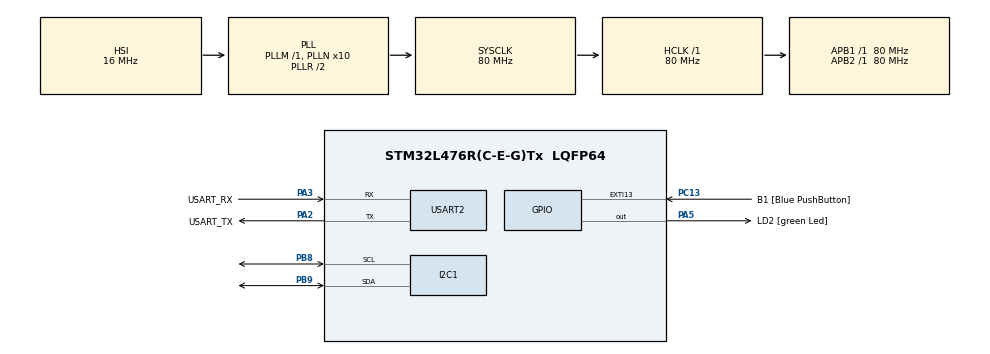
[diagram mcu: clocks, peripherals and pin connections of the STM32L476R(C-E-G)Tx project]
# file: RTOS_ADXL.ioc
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FREERTOS.Tasks01=defaultTask,0,128,StartDefaultTask,Default,NULL,Dynamic,NULL,NULL;LedTask,-1,256,StartLedTask,Default,NULL,Dynamic,NULL,NULL;DebugTask,0,256,StartDebugTask,Default,NULL,Dynamic,NULL,NULL;SensorTask,1,256,StartSensorTask,Default,NULL,Dynamic,NULL,NULL
FREERTOS.configTOTAL_HEAP_SIZE=16384
FREERTOS.configUSE_NEWLIB_REENTRANT=1
I2C1.Timing=0x10D19CE4
Mcu.Family=STM32L4
Mcu.Name=STM32L476R(C-E-G)Tx
Mcu.Package=LQFP64
NVIC.PriorityGroup=NVIC_PRIORITYGROUP_4
NVIC.TIM6_DAC_IRQn=true\:15\:0\:false\:false\:true\:false\:false\:true\:true
NVIC.TimeBase=TIM6_DAC_IRQn
NVIC.TimeBaseIP=TIM6
PA13\ (JTMS-SWDIO).GPIO_Label=TMS
PA13\ (JTMS-SWDIO).Mode=Serial_Wire
PA13\ (JTMS-SWDIO).Signal=SYS_JTMS-SWDIO
PA14\ (JTCK-SWCLK).GPIO_Label=TCK
PA14\ (JTCK-SWCLK).Mode=Serial_Wire
PA14\ (JTCK-SWCLK).Signal=SYS_JTCK-SWCLK
PA2.GPIO_Label=USART_TX
PA2.GPIO_Mode=GPIO_MODE_AF_PP
PA2.GPIO_PuPd=GPIO_NOPULL
PA2.GPIO_Speed=GPIO_SPEED_FREQ_VERY_HIGH
PA2.Mode=Asynchronous
PA2.Signal=USART2_TX
PA3.GPIO_Label=USART_RX
PA3.GPIO_Mode=GPIO_MODE_AF_PP
PA3.GPIO_PuPd=GPIO_NOPULL
PA3.GPIO_Speed=GPIO_SPEED_FREQ_VERY_HIGH
PA3.Mode=Asynchronous
PA3.Signal=USART2_RX
PA5.GPIO_Label=LD2 [green Led]
PA5.GPIO_ModeDefaultOutputPP=GPIO_MODE_OUTPUT_PP
PA5.GPIO_PuPd=GPIO_NOPULL
PA5.GPIO_Speed=GPIO_SPEED_FREQ_LOW
PA5.Signal=GPIO_Output
PB3\ (JTDO-TRACESWO).GPIO_Label=SWO
PB3\ (JTDO-TRACESWO).Signal=SYS_JTDO-SWO
PB8.Mode=I2C
PB8.Signal=I2C1_SCL
PB9.Mode=I2C
PB9.Signal=I2C1_SDA
PC13.GPIO_Label=B1 [Blue PushButton]
PC13.GPIO_ModeDefaultEXTI=GPIO_MODE_IT_FALLING
PC13.GPIO_PuPd=GPIO_NOPULL
PC13.Signal=GPXTI13
PC14-OSC32_IN\ (PC14).Mode=LSE-External-Oscillator
PC14-OSC32_IN\ (PC14).Signal=RCC_OSC32_IN
PC15-OSC32_OUT\ (PC15).Mode=LSE-External-Oscillator
PC15-OSC32_OUT\ (PC15).Signal=RCC_OSC32_OUT
PH0-OSC_IN\ (PH0).Signal=RCC_OSC_IN
PH1-OSC_OUT\ (PH1).Signal=RCC_OSC_OUT
ProjectManager.HeapSize=0x200
ProjectManager.StackSize=0x400
ProjectManager.TargetToolchain=STM32CubeIDE
RCC.ADCFreq_Value=64000000
RCC.AHBFreq_Value=80000000
RCC.APB1Freq_Value=80000000
RCC.APB1TimFreq_Value=80000000
RCC.APB2Freq_Value=80000000
RCC.APB2TimFreq_Value=80000000
RCC.CortexFreq_Value=80000000
RCC.HCLKFreq_Value=80000000
RCC.HSE_VALUE=8000000
RCC.HSI_VALUE=16000000
RCC.MSI_VALUE=4000000
RCC.PLLN=10
RCC.PLLSourceVirtual=RCC_PLLSOURCE_HSI
RCC.PREFETCH_ENABLE=1
RCC.SYSCLKFreq_VALUE=80000000
RCC.SYSCLKSource=RCC_SYSCLKSOURCE_PLLCLK
RCC.USBFreq_Value=64000000
RCC.VCOOutputFreq_Value=160000000
USART2.VirtualMode-Asynchronous=VM_ASYNC
VP_FREERTOS_VS_CMSIS_V1.Mode=CMSIS_V1
VP_SYS_VS_tim6.Mode=TIM6
board=NUCLEO-L476RG

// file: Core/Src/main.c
/* USER CODE BEGIN Header */
/**
  ******************************************************************************
  * @file           : main.c
  * @brief          : Main program body
  ******************************************************************************
  * @attention
  *
  * Copyright (c) 2026 STMicroelectronics.
  * All rights reserved.
  *
  * This software is licensed under terms that can be found in the LICENSE file
  * in the root directory of this software component.
  * If no LICENSE file comes with this software, it is provided AS-IS.
  *
  ******************************************************************************
  */
/* USER CODE END Header */
#include "main.h"
#include "cmsis_os.h"

/* USER CODE BEGIN Includes */
#include<string.h>
#include<stdio.h>
#include <stdlib.h>
/* USER CODE END Includes */

/* USER CODE BEGIN PD */
#define ADXL345_ADDR      (0x53 << 1)
#define ADXL345_DEVID_REG 0x00
#define ADXL345_BW_RATE      0x2C
#define ADXL345_POWER_CTL    0x2D
#define ADXL345_DATA_FORMAT  0x31
#define ADXL345_DATAX0       0x32
/* USER CODE END PD */

I2C_HandleTypeDef hi2c1;

UART_HandleTypeDef huart2;

osThreadId defaultTaskHandle;
osThreadId LedTaskHandle;
osThreadId DebugTaskHandle;
osThreadId SensorTaskHandle;
/* USER CODE BEGIN PV */
volatile uint8_t adxl345_ready = 0;
volatile uint8_t adxl345_devid = 0;
volatile uint8_t adxl345_id_ok = 0;
volatile int16_t adxl_x = 0;
volatile int16_t adxl_y = 0;
volatile int16_t adxl_z = 0;
volatile uint8_t adxl345_config_ok = 0;
volatile uint8_t deploy_flag = 0;
volatile int32_t shock_metric = 0;
/* USER CODE END PV */

void SystemClock_Config(void);
static void MX_GPIO_Init(void);
static void MX_USART2_UART_Init(void);
static void MX_I2C1_Init(void);
void StartDefaultTask(void const * argument);
void StartLedTask(void const * argument);
void StartDebugTask(void const * argument);
void StartSensorTask(void const * argument);

int main(void)
{

  /* MCU Configuration--------------------------------------------------------*/

  /* Reset of all peripherals, Initializes the Flash interface and the Systick. */
  HAL_Init();

  /* Configure the system clock */
  SystemClock_Config();

  /* Initialize all configured peripherals */
  MX_GPIO_Init();
  MX_USART2_UART_Init();
  MX_I2C1_Init();

  /* Create the thread(s) */
  /* definition and creation of defaultTask */
  osThreadDef(defaultTask, StartDefaultTask, osPriorityNormal, 0, 128);
  defaultTaskHandle = osThreadCreate(osThread(defaultTask), NULL);

  /* definition and creation of LedTask */
  osThreadDef(LedTask, StartLedTask, osPriorityBelowNormal, 0, 256);
  LedTaskHandle = osThreadCreate(osThread(LedTask), NULL);

  /* definition and creation of DebugTask */
  osThreadDef(DebugTask, StartDebugTask, osPriorityNormal, 0, 256);
  DebugTaskHandle = osThreadCreate(osThread(DebugTask), NULL);

  /* definition and creation of SensorTask */
  osThreadDef(SensorTask, StartSensorTask, osPriorityAboveNormal, 0, 256);
  SensorTaskHandle = osThreadCreate(osThread(SensorTask), NULL);

  /* Start scheduler */
  osKernelStart();

  /* We should never get here as control is now taken by the scheduler */

  /* Infinite loop */
  while (1)
  {

  }
}

void SystemClock_Config(void)
{
  RCC_OscInitTypeDef RCC_OscInitStruct = {0};
  RCC_ClkInitTypeDef RCC_ClkInitStruct = {0};

  /** Configure the main internal regulator output voltage
  */
  if (HAL_PWREx_ControlVoltageScaling(PWR_REGULATOR_VOLTAGE_SCALE1) != HAL_OK)
  {
    Error_Handler();
  }

  /** Initializes the RCC Oscillators according to the specified parameters
  * in the RCC_OscInitTypeDef structure.
  */
  RCC_OscInitStruct.OscillatorType = RCC_OSCILLATORTYPE_HSI;
  RCC_OscInitStruct.HSIState = RCC_HSI_ON;
  RCC_OscInitStruct.HSICalibrationValue = RCC_HSICALIBRATION_DEFAULT;
  RCC_OscInitStruct.PLL.PLLState = RCC_PLL_ON;
  RCC_OscInitStruct.PLL.PLLSource = RCC_PLLSOURCE_HSI;
  RCC_OscInitStruct.PLL.PLLM = 1;
  RCC_OscInitStruct.PLL.PLLN = 10;
  RCC_OscInitStruct.PLL.PLLP = RCC_PLLP_DIV7;
  RCC_OscInitStruct.PLL.PLLQ = RCC_PLLQ_DIV2;
  RCC_OscInitStruct.PLL.PLLR = RCC_PLLR_DIV2;
  if (HAL_RCC_OscConfig(&RCC_OscInitStruct) != HAL_OK)
  {
    Error_Handler();
  }

  /** Initializes the CPU, AHB and APB buses clocks
  */
  RCC_ClkInitStruct.ClockType = RCC_CLOCKTYPE_HCLK|RCC_CLOCKTYPE_SYSCLK
                              |RCC_CLOCKTYPE_PCLK1|RCC_CLOCKTYPE_PCLK2;
  RCC_ClkInitStruct.SYSCLKSource = RCC_SYSCLKSOURCE_PLLCLK;
  RCC_ClkInitStruct.AHBCLKDivider = RCC_SYSCLK_DIV1;
  RCC_ClkInitStruct.APB1CLKDivider = RCC_HCLK_DIV1;
  RCC_ClkInitStruct.APB2CLKDivider = RCC_HCLK_DIV1;

  if (HAL_RCC_ClockConfig(&RCC_ClkInitStruct, FLASH_LATENCY_4) != HAL_OK)
  {
    Error_Handler();
  }
}

static void MX_I2C1_Init(void)
{

  hi2c1.Instance = I2C1;
  hi2c1.Init.Timing = 0x10D19CE4;
  hi2c1.Init.OwnAddress1 = 0;
  hi2c1.Init.AddressingMode = I2C_ADDRESSINGMODE_7BIT;
  hi2c1.Init.DualAddressMode = I2C_DUALADDRESS_DISABLE;
  hi2c1.Init.OwnAddress2 = 0;
  hi2c1.Init.OwnAddress2Masks = I2C_OA2_NOMASK;
  hi2c1.Init.GeneralCallMode = I2C_GENERALCALL_DISABLE;
  hi2c1.Init.NoStretchMode = I2C_NOSTRETCH_DISABLE;
  if (HAL_I2C_Init(&hi2c1) != HAL_OK)
  {
    Error_Handler();
  }

  /** Configure Analogue filter
  */
  if (HAL_I2CEx_ConfigAnalogFilter(&hi2c1, I2C_ANALOGFILTER_ENABLE) != HAL_OK)
  {
    Error_Handler();
  }

  /** Configure Digital filter
  */
  if (HAL_I2CEx_ConfigDigitalFilter(&hi2c1, 0) != HAL_OK)
  {
    Error_Handler();
  }

}

static void MX_USART2_UART_Init(void)
{

  huart2.Instance = USART2;
  huart2.Init.BaudRate = 115200;
  huart2.Init.WordLength = UART_WORDLENGTH_8B;
  huart2.Init.StopBits = UART_STOPBITS_1;
  huart2.Init.Parity = UART_PARITY_NONE;
  huart2.Init.Mode = UART_MODE_TX_RX;
  huart2.Init.HwFlowCtl = UART_HWCONTROL_NONE;
  huart2.Init.OverSampling = UART_OVERSAMPLING_16;
  huart2.Init.OneBitSampling = UART_ONE_BIT_SAMPLE_DISABLE;
  huart2.AdvancedInit.AdvFeatureInit = UART_ADVFEATURE_NO_INIT;
  if (HAL_UART_Init(&huart2) != HAL_OK)
  {
    Error_Handler();
  }

}

static void MX_GPIO_Init(void)
{
  GPIO_InitTypeDef GPIO_InitStruct = {0};

  /* GPIO Ports Clock Enable */
  __HAL_RCC_GPIOC_CLK_ENABLE();
  __HAL_RCC_GPIOH_CLK_ENABLE();
  __HAL_RCC_GPIOA_CLK_ENABLE();
  __HAL_RCC_GPIOB_CLK_ENABLE();

  /*Configure GPIO pin Output Level */
  HAL_GPIO_WritePin(LD2_GPIO_Port, LD2_Pin, GPIO_PIN_RESET);

  /*Configure GPIO pin : B1_Pin */
  GPIO_InitStruct.Pin = B1_Pin;
  GPIO_InitStruct.Mode = GPIO_MODE_IT_FALLING;
  GPIO_InitStruct.Pull = GPIO_NOPULL;
  HAL_GPIO_Init(B1_GPIO_Port, &GPIO_InitStruct);

  /*Configure GPIO pin : LD2_Pin */
  GPIO_InitStruct.Pin = LD2_Pin;
  GPIO_InitStruct.Mode = GPIO_MODE_OUTPUT_PP;
  GPIO_InitStruct.Pull = GPIO_NOPULL;
  GPIO_InitStruct.Speed = GPIO_SPEED_FREQ_LOW;
  HAL_GPIO_Init(LD2_GPIO_Port, &GPIO_InitStruct);

}

void StartDefaultTask(void const * argument)
{
  for(;;)
  {
    osDelay(1);
  }
}

void StartLedTask(void const * argument)
{
  /* USER CODE BEGIN StartLedTask */
  /* Infinite loop */
	for(;;)
	  {
	    if (deploy_flag)
	    {
	      HAL_GPIO_WritePin(LD2_GPIO_Port, LD2_Pin, GPIO_PIN_SET);
	      osDelay(100);
	    }
	    else
	    {
	      HAL_GPIO_TogglePin(LD2_GPIO_Port, LD2_Pin);
	      osDelay(500);
	    }
	  }
  /* USER CODE END StartLedTask */
}

void StartDebugTask(void const * argument)
{
  /* USER CODE BEGIN StartDebugTask */
  /* Infinite loop */
	char msg[140];

	  for(;;)
	  {
	    if (!adxl345_ready)
	    {
	      sprintf(msg, "ADXL345 not detected\r\n");
	    }
	    else if (!adxl345_id_ok)
	    {
	      sprintf(msg, "ADXL345 detected, unexpected DEVID = 0x%02X\r\n", adxl345_devid);
	    }
	    else if (!adxl345_config_ok)
	    {
	      sprintf(msg, "ADXL345 detected, DEVID = 0x%02X, config failed\r\n", adxl345_devid);
	    }
	    else
	    {
	      sprintf(msg, "X=%d Y=%d Z=%d Shock=%ld Deploy=%d\r\n",
	              adxl_x, adxl_y, adxl_z, shock_metric, deploy_flag);
	    }

	    HAL_UART_Transmit(&huart2, (uint8_t*)msg, strlen(msg), 100);
	    osDelay(500);
	  }
  /* USER CODE END StartDebugTask */
}

void StartSensorTask(void const * argument)
{
  /* USER CODE BEGIN StartSensorTask */
  /* Infinite loop */
	uint8_t devid = 0;
	  uint8_t data[6];
	  uint8_t config_data;

	  for(;;)
	  {
	    if (HAL_I2C_IsDeviceReady(&hi2c1, ADXL345_ADDR, 2, 100) == HAL_OK)
	    {
	      adxl345_ready = 1;

	      if (HAL_I2C_Mem_Read(&hi2c1, ADXL345_ADDR, ADXL345_DEVID_REG,
	                           I2C_MEMADD_SIZE_8BIT, &devid, 1, 100) == HAL_OK)
	      {
	        adxl345_devid = devid;
	        adxl345_id_ok = (devid == 0xE5) ? 1 : 0;

	        if (adxl345_id_ok)
	        {
	          /* Set BW_RATE = 100 Hz */
	          config_data = 0x0A;
	          if (HAL_I2C_Mem_Write(&hi2c1, ADXL345_ADDR, ADXL345_BW_RATE,
	                                I2C_MEMADD_SIZE_8BIT, &config_data, 1, 100) != HAL_OK)
	          {
	            adxl345_config_ok = 0;
	            osDelay(1000);
	            continue;
	          }

	          /* Set DATA_FORMAT = full resolution, ±16g */
	          config_data = 0x0B;
	          if (HAL_I2C_Mem_Write(&hi2c1, ADXL345_ADDR, ADXL345_DATA_FORMAT,
	                                I2C_MEMADD_SIZE_8BIT, &config_data, 1, 100) != HAL_OK)
	          {
	            adxl345_config_ok = 0;
	            osDelay(1000);
	            continue;
	          }

	          /* Set POWER_CTL = measurement mode */
	          config_data = 0x08;
	          if (HAL_I2C_Mem_Write(&hi2c1, ADXL345_ADDR, ADXL345_POWER_CTL,
	                                I2C_MEMADD_SIZE_8BIT, &config_data, 1, 100) != HAL_OK)
	          {
	            adxl345_config_ok = 0;
	            osDelay(1000);
	            continue;
	          }

	          adxl345_config_ok = 1;

	          /* Read X, Y, Z data */
	          if (HAL_I2C_Mem_Read(&hi2c1, ADXL345_ADDR, ADXL345_DATAX0,
	                               I2C_MEMADD_SIZE_8BIT, data, 6, 100) == HAL_OK)
	          {
	            adxl_x = (int16_t)((data[1] << 8) | data[0]);
	            adxl_y = (int16_t)((data[3] << 8) | data[2]);
	            adxl_z = (int16_t)((data[5] << 8) | data[4]);
	          }
	        }
	        else
	        {
	          adxl345_config_ok = 0;
	        }
	      }
	      else
	      {
	        adxl345_devid = 0;
	        adxl345_id_ok = 0;
	        adxl345_config_ok = 0;
	      }
	    }
	    else
	    {
	      adxl345_ready = 0;
	      adxl345_devid = 0;
	      adxl345_id_ok = 0;
	      adxl345_config_ok = 0;
	    }
  if (HAL_I2C_Mem_Read(&hi2c1, ADXL345_ADDR, ADXL345_DATAX0,
                             I2C_MEMADD_SIZE_8BIT, data, 6, 100) == HAL_OK)
        {
          adxl_x = (int16_t)((data[1] << 8) | data[0]);
          adxl_y = (int16_t)((data[3] << 8) | data[2]);
          adxl_z = (int16_t)((data[5] << 8) | data[4]);

          shock_metric = abs(adxl_x) + abs(adxl_y) + abs(adxl_z);

          if (shock_metric > 700)
          {
            deploy_flag = 1;
          }
        }
	    osDelay(200);
	  }
  /* USER CODE END StartSensorTask */
}

void HAL_TIM_PeriodElapsedCallback(TIM_HandleTypeDef *htim)
{
  if (htim->Instance == TIM6)
  {
    HAL_IncTick();
  }
}

void Error_Handler(void)
{
  /* USER CODE BEGIN Error_Handler_Debug */
  /* User can add his own implementation to report the HAL error return state */
	  __disable_irq();
	  while (1)
	  {
	    HAL_GPIO_TogglePin(LD2_GPIO_Port, LD2_Pin);
	    for (volatile uint32_t i = 0; i < 200000; i++);
	  }
  /* USER CODE END Error_Handler_Debug */
}
